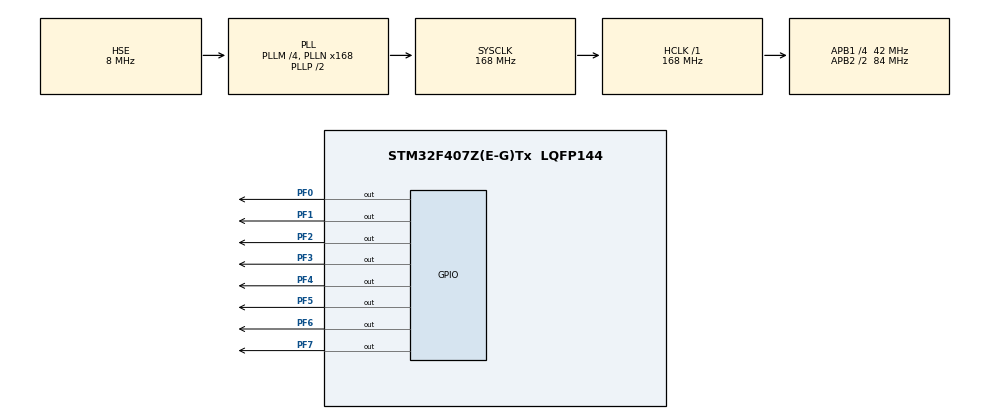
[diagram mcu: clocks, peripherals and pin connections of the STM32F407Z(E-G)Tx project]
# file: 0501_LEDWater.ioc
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Mcu.Family=STM32F4
Mcu.Name=STM32F407Z(E-G)Tx
Mcu.Package=LQFP144
NVIC.PriorityGroup=NVIC_PRIORITYGROUP_4
PA13.Mode=Serial_Wire
PA13.Signal=SYS_JTMS-SWDIO
PA14.Mode=Serial_Wire
PA14.Signal=SYS_JTCK-SWCLK
PF0.PinState=GPIO_PIN_RESET
PF0.Signal=GPIO_Output
PF1.PinState=GPIO_PIN_RESET
PF1.Signal=GPIO_Output
PF2.PinState=GPIO_PIN_RESET
PF2.Signal=GPIO_Output
PF3.PinState=GPIO_PIN_RESET
PF3.Signal=GPIO_Output
PF4.PinState=GPIO_PIN_RESET
PF4.Signal=GPIO_Output
PF5.PinState=GPIO_PIN_RESET
PF5.Signal=GPIO_Output
PF6.PinState=GPIO_PIN_RESET
PF6.Signal=GPIO_Output
PF7.PinState=GPIO_PIN_RESET
PF7.Signal=GPIO_Output
PH0-OSC_IN.Mode=HSE-External-Oscillator
PH0-OSC_IN.Signal=RCC_OSC_IN
PH1-OSC_OUT.Mode=HSE-External-Oscillator
PH1-OSC_OUT.Signal=RCC_OSC_OUT
ProjectManager.HeapSize=0x200
ProjectManager.StackSize=0x400
ProjectManager.TargetToolchain=MDK-ARM V5.32
RCC.48MHZClocksFreq_Value=84000000
RCC.AHBFreq_Value=168000000
RCC.APB1CLKDivider=RCC_HCLK_DIV4
RCC.APB1Freq_Value=42000000
RCC.APB1TimFreq_Value=84000000
RCC.APB2CLKDivider=RCC_HCLK_DIV2
RCC.APB2Freq_Value=84000000
RCC.APB2TimFreq_Value=168000000
RCC.CortexFreq_Value=168000000
RCC.HCLKFreq_Value=168000000
RCC.HSE_VALUE=8000000
RCC.HSI_VALUE=16000000
RCC.LSE_VALUE=32768
RCC.PLLM=4
RCC.PLLN=168
RCC.PLLSourceVirtual=RCC_PLLSOURCE_HSE
RCC.SYSCLKFreq_VALUE=168000000
RCC.SYSCLKSource=RCC_SYSCLKSOURCE_PLLCLK
RCC.VCOOutputFreq_Value=336000000
board=custom

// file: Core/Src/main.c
/* USER CODE BEGIN Header */
/**
  ******************************************************************************
  * @file           : main.c
  * @brief          : Main program body
  ******************************************************************************
  * @attention
  *
  * Copyright (c) 2026 STMicroelectronics.
  * All rights reserved.
  *
  * This software is licensed under terms that can be found in the LICENSE file
  * in the root directory of this software component.
  * If no LICENSE file comes with this software, it is provided AS-IS.
  ******************************************************************************
  */
/* USER CODE END Header */
#include "main.h"
#include "gpio.h"

void SystemClock_Config(void);

/* USER CODE BEGIN 0 */
/**
 * @brief ?????????
 * @param i:?????
 * @retval ?
 */
void delay(uint32_t i)
{
    while(i--);
}
/* USER CODE END 0 */

int main(void)
{

  /* MCU Configuration--------------------------------------------------------*/
  /* Reset of all peripherals, Initializes the Flash interface and the Systick. */
  HAL_Init();

  /* Configure the system clock */
  SystemClock_Config();

  /* Initialize all configured peripherals */
  MX_GPIO_Init();

  /* Infinite loop */
  /* USER CODE BEGIN WHILE */
  while (1)
  {
    GPIOF->ODR = 0xFE;   //11111110  PF0?????,LED??
    delay(24000000);
    GPIOF->ODR = 0xFD;   //11111101  PF1?????,LED??
    delay(24000000);
    GPIOF->ODR = 0xFB;   //11111011  PF2?????,LED??
    delay(24000000);
    GPIOF->ODR = 0xF7;   //11110111  PF3?????,LED??
    delay(24000000);
    GPIOF->ODR = 0xEF;   //11101111  PF4?????,LED??
    delay(24000000);
    GPIOF->ODR = 0xDF;   //11011111  PF5?????,LED??
    delay(24000000);
    GPIOF->ODR = 0xBF;   //10111111  PF6?????,LED??
    delay(24000000);
    GPIOF->ODR = 0x7F;   //01111111  PF7?????,LED??
    delay(24000000);
    /* USER CODE END WHILE */

  }
}

void SystemClock_Config(void)
{
  RCC_OscInitTypeDef RCC_OscInitStruct = {0};
  RCC_ClkInitTypeDef RCC_ClkInitStruct = {0};

  /** Configure the main internal regulator output voltage
  */
  __HAL_RCC_PWR_CLK_ENABLE();
  __HAL_PWR_VOLTAGESCALING_CONFIG(PWR_REGULATOR_VOLTAGE_SCALE1);

  /** Initializes the RCC Oscillators according to the specified parameters
  * in the RCC_OscInitTypeDef structure.
  */
  RCC_OscInitStruct.OscillatorType = RCC_OSCILLATORTYPE_HSE;
  RCC_OscInitStruct.HSEState = RCC_HSE_ON;
  RCC_OscInitStruct.PLL.PLLState = RCC_PLL_ON;
  RCC_OscInitStruct.PLL.PLLSource = RCC_PLLSOURCE_HSE;
  RCC_OscInitStruct.PLL.PLLM = 4;
  RCC_OscInitStruct.PLL.PLLN = 168;
  RCC_OscInitStruct.PLL.PLLP = RCC_PLLP_DIV2;
  RCC_OscInitStruct.PLL.PLLQ = 4;
  if (HAL_RCC_OscConfig(&RCC_OscInitStruct) != HAL_OK)
  {
    Error_Handler();
  }

  /** Initializes the CPU, AHB and APB buses clocks
  */
  RCC_ClkInitStruct.ClockType = RCC_CLOCKTYPE_HCLK|RCC_CLOCKTYPE_SYSCLK
                              |RCC_CLOCKTYPE_PCLK1|RCC_CLOCKTYPE_PCLK2;
  RCC_ClkInitStruct.SYSCLKSource = RCC_SYSCLKSOURCE_PLLCLK;
  RCC_ClkInitStruct.AHBCLKDivider = RCC_SYSCLK_DIV1;
  RCC_ClkInitStruct.APB1CLKDivider = RCC_HCLK_DIV4;
  RCC_ClkInitStruct.APB2CLKDivider = RCC_HCLK_DIV2;

  if (HAL_RCC_ClockConfig(&RCC_ClkInitStruct, FLASH_LATENCY_5) != HAL_OK)
  {
    Error_Handler();
  }
}

void Error_Handler(void)
{
  __disable_irq();
  while (1)
  {
  }
}
